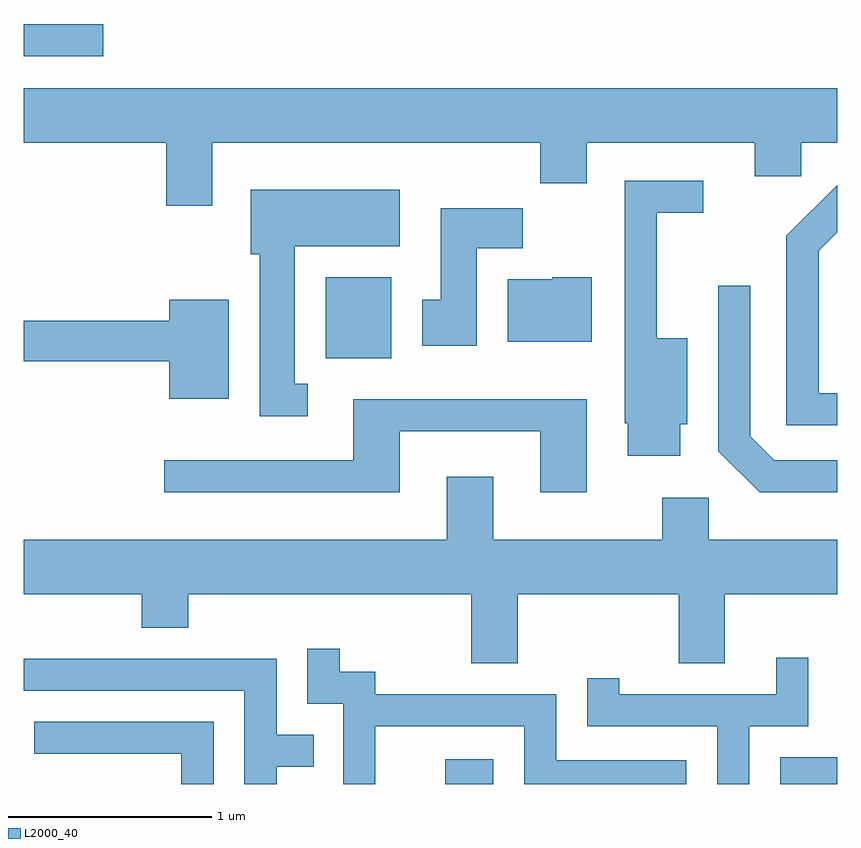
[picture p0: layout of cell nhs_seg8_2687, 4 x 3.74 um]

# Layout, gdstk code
import gdstk
lib = gdstk.Library(unit=1e-6, precision=1e-09)
def R(c, l, rs):  # rectangles x0, y0, x1, y1
    for r in rs: c.add(gdstk.rectangle(r[:2], r[2:], *l))
def P(c, l, *ps):  # polygons
    for p in ps: c.add(gdstk.Polygon(p, *l))
L2000_40 = (2000, 40)

nhs_seg8_2687 = lib.new_cell('nhs_seg8_2687')
R(nhs_seg8_2687, L2000_40, [(267.683,1864.342,267.919,1864.464), (269.331,1864.342,269.611,1864.474), (267.096,1866.436,267.419,1866.834), (265.611,1867.921,266.003,1868.079)])
P(nhs_seg8_2687, L2000_40, [(266.539,1867.496),(268.151,1867.496),(268.151,1867.296),(268.379,1867.296),(268.379,1867.496),(269.206,1867.496),(269.206,1867.331),(269.434,1867.331),(269.434,1867.496),(269.611,1867.496),(269.611,1867.764),(265.611,1867.764),(265.611,1867.496),(266.311,1867.496),(266.311,1867.186),(266.539,1867.186)],
  [(268.839,1866.111),(268.874,1866.111),(268.874,1866.534),(268.724,1866.534),(268.724,1867.151),(268.953,1867.151),(268.953,1867.309),(268.566,1867.309),(268.566,1866.115),(268.581,1866.115),(268.581,1865.956),(268.839,1865.956)],
  [(269.611,1866.264),(269.519,1866.264),(269.519,1866.964),(269.611,1867.056),(269.611,1867.286),(269.361,1867.037),(269.361,1866.106),(269.611,1866.106)],
  [(267.008,1866.309),(266.944,1866.309),(266.944,1866.986),(267.459,1866.986),(267.459,1867.264),(266.726,1867.264),(266.726,1866.946),(266.771,1866.946),(266.771,1866.151),(267.008,1866.151)],
  [(267.839,1866.976),(268.064,1866.976),(268.064,1867.174),(267.661,1867.174),(267.661,1866.724),(267.571,1866.724),(267.571,1866.496),(267.839,1866.496)],
  [(268.404,1866.834),(268.21,1866.834),(268.21,1866.824),(267.991,1866.824),(267.991,1866.516),(268.404,1866.516)],
  [(269.611,1865.934),(269.302,1865.934),(269.184,1866.052),(269.184,1866.793),(269.026,1866.793),(269.026,1865.979),(269.229,1865.776),(269.611,1865.776)],
  [(266.619,1866.724),(266.326,1866.724),(266.326,1866.619),(265.611,1866.619),(265.611,1866.421),(266.326,1866.421),(266.326,1866.236),(266.619,1866.236)],
  [(267.459,1866.076),(268.151,1866.076),(268.151,1865.776),(268.379,1865.776),(268.379,1866.234),(267.231,1866.234),(267.231,1865.934),(266.303,1865.934),(266.303,1865.776),(267.459,1865.776)],
  [(268.039,1865.276),(268.831,1865.276),(268.831,1864.936),(269.059,1864.936),(269.059,1865.276),(269.611,1865.276),(269.611,1865.544),(268.979,1865.544),(268.979,1865.749),(268.751,1865.749),(268.751,1865.544),(267.919,1865.544),(267.919,1865.854),(267.691,1865.854),(267.691,1865.544),(265.611,1865.544),(265.611,1865.276),(266.191,1865.276),(266.191,1865.111),(266.419,1865.111),(266.419,1865.276),(267.811,1865.276),(267.811,1864.936),(268.039,1864.936)],
  [(267.339,1864.626),(268.071,1864.626),(268.071,1864.342),(268.869,1864.342),(268.869,1864.459),(268.229,1864.459),(268.229,1864.784),(267.339,1864.784),(267.339,1864.894),(267.164,1864.894),(267.164,1865.008),(267.006,1865.008),(267.006,1864.736),(267.181,1864.736),(267.181,1864.342),(267.339,1864.342)],
  [(269.179,1864.626),(269.469,1864.626),(269.469,1864.963),(269.311,1864.963),(269.311,1864.784),(268.539,1864.784),(268.539,1864.863),(268.381,1864.863),(268.381,1864.626),(269.021,1864.626),(269.021,1864.342),(269.179,1864.342)],
  [(266.854,1864.426),(267.038,1864.426),(267.038,1864.584),(266.854,1864.584),(266.854,1864.959),(265.611,1864.959),(265.611,1864.801),(266.696,1864.801),(266.696,1864.342),(266.854,1864.342)],
  [(266.544,1864.649),(265.663,1864.649),(265.663,1864.491),(266.386,1864.491),(266.386,1864.342),(266.544,1864.342)])

lib.write_gds('nhs_seg8_2687.gds')
